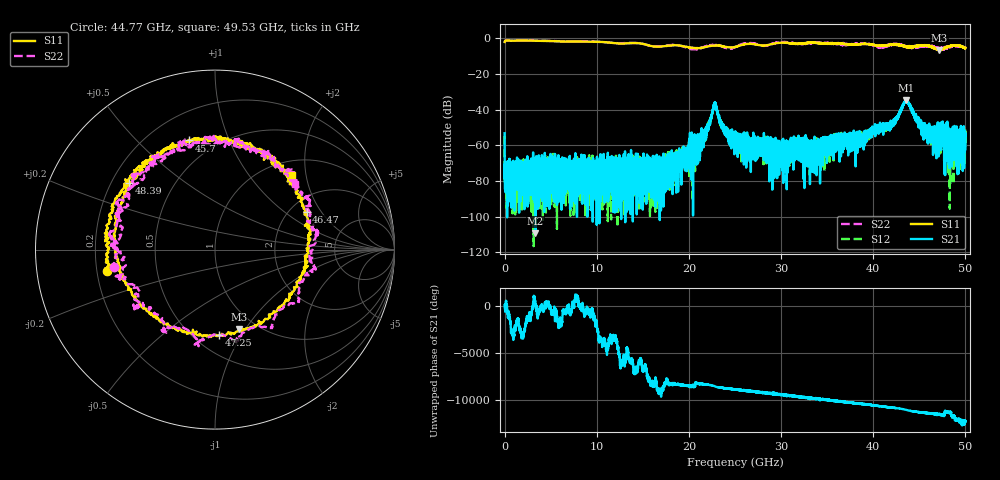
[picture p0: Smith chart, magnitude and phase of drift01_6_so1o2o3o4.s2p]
!Created with skrf (http://scikit-rf.org).
# Hz S RI R 50.0
!freq ReS11 ImS11 ReS21 ImS21 ReS12 ImS12 ReS22 ImS22
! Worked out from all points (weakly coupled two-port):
!   10001 points, 300 kHz to 50 GHz, reference 50 ohm
!   highest |S21| = -34.62 dB at 43.61 GHz (marker M1); lowest = -109.3 dB at 3.35 GHz (marker M2)
!   lowest |S11| = -6.7 dB at 47.17 GHz (marker M3), VSWR 2.71, Z = 41.5 - j46.6 ohm
!   |S11| at or under -10 dB: nowhere
!   |S22| runs from -6.6 to -1.4 dB; largest |S21 - S12| = 0.0037
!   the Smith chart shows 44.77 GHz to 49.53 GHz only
!   S11 on the Smith chart (normalised r, x): 44.77 GHz: 0.24, -0.09; 45.7 GHz: 0.36, +0.73; 46.47 GHz: 2.45, +1.48; 47.25 GHz: 0.65, -0.81; 48.39 GHz: 0.27, +0.32; 49.53 GHz: 1.30, +1.67
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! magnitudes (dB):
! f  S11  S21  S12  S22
! 300 kHz  -2.2  -53.3  -54.8  -2.1
! 255.3 MHz  -1.4  -70.3  -76.5  -1.4
! 3.35 GHz  -1.5  -109.3  -73.8  -1.5
! 8.335 GHz  -1.9  -81.3  -74.7  -1.8
! 16.67 GHz  -4.9  -74.1  -76.0  -4.8
! 20.98 GHz  -5.6  -61.8  -56.4  -6.0
! 21.93 GHz  -4.8  -51.5  -52.3  -4.4
! 22.79 GHz  -4.3  -36.2  -36.3  -4.0
! 23.73 GHz  -4.7  -51.2  -49.1  -5.0
! 25 GHz  -5.0  -57.0  -54.0  -5.1
! 29.73 GHz  -2.7  -62.7  -67.0  -2.5
! 33.34 GHz  -2.6  -57.4  -58.1  -2.7
! 41.67 GHz  -3.9  -47.9  -49.6  -4.4
! 43.61 GHz  -4.6  -34.6  -35.0  -4.9
! 44.77 GHz  -4.2  -46.3  -45.1  -4.9
! 45.7 GHz  -4.1  -51.1  -52.1  -4.4
! 46.47 GHz  -5.2  -56.1  -51.1  -4.9
! 47.17 GHz  -6.7  -58.0  -55.5  -6.3
! 47.25 GHz  -6.4  -54.9  -51.1  -5.4
! 48.39 GHz  -4.3  -53.3  -62.6  -4.7
! 49.53 GHz  -4.5  -54.6  -52.6  -4.8
! 50 GHz  -5.6  -54.7  -55.8  -5.4
